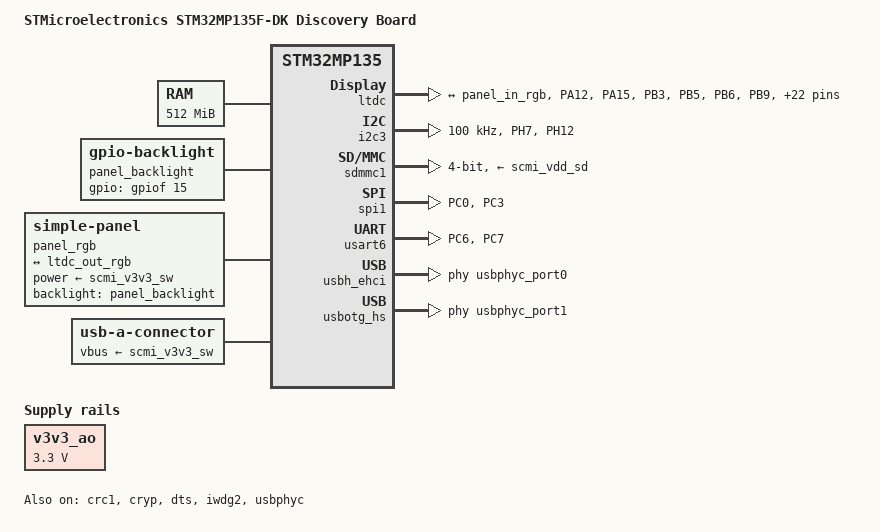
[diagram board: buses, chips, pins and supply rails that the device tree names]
// SPDX-License-Identifier: (GPL-2.0+ OR BSD-3-Clause)
/*
 * Copyright (C) STMicroelectronics 2021 - All Rights Reserved
 * Author: Alexandre Torgue <alexandre.torgue@foss.st.com> for STMicroelectronics.
 */

/dts-v1/;

#include <dt-bindings/gpio/gpio.h>
#include <dt-bindings/input/input.h>
#include <dt-bindings/leds/common.h>
#include <dt-bindings/rtc/rtc-stm32.h>
#include "stm32mp135.dtsi"
#include "stm32mp13xf.dtsi"
#include "stm32mp13-pinctrl.dtsi"

/ {
	model = "STMicroelectronics STM32MP135F-DK Discovery Board";
	compatible = "st,stm32mp135f-dk", "st,stm32mp135";

	aliases {
		ethernet0 = &eth1;
		ethernet1 = &eth2;
		serial0 = &usart6;
		serial1 = &usart1;
		serial2 = &uart8;
		serial3 = &usart2;
		
		i2c0 = &i2c3;
		spi1 = &spi1;
	};

	chosen {
		#address-cells = <1>;
		#size-cells = <1>;
		ranges;
		stdout-path = "serial0:115200n8";

		framebuffer {
			compatible = "simple-framebuffer";
			clocks = <&rcc LTDC_PX>;
			status = "okay";
		};
	};

	clocks {
	};

	memory@c0000000 {
		device_type = "memory";
		reg = <0xc0000000 0x20000000>;
	};
	reserved-memory {
		#address-cells = <1>;
		#size-cells = <1>;
		ranges;

		optee_framebuffer@dd000000 {
			reg = <0xdd000000 0x1000000>;
			no-map;
		};

		optee@de000000 {
			reg = <0xde000000 0x2000000>;
			no-map;
		};
	};

	v3v3_ao: v3v3_ao {
		compatible = "regulator-fixed";
		regulator-name = "v3v3_ao";
		regulator-min-microvolt = <3300000>;
		regulator-max-microvolt = <3300000>;
		regulator-always-on;
	};

	panel_backlight: panel-backlight {
		compatible = "gpio-backlight";
		gpios = <&gpiof 15 GPIO_ACTIVE_HIGH>;
		default-on;
		default-brightness-level = <0>;
		status = "okay";
	};

	panel_rgb: panel-rgb {
		compatible = "simple-panel", "panel-dpi";
		backlight = <&panel_backlight>;
		power-supply = <&scmi_v3v3_sw>;
		data-mapping = "rgb24";
		status = "okay";

		width-mm = <320>;
		height-mm = <180>;

		port {
			panel_in_rgb: endpoint {
				remote-endpoint = <&ltdc_out_rgb>;
			};
		};

		display-timings {
			timing@0 {
				clock-frequency = <74250000>;
				hactive = <1280>;
				vactive = <720>;
				hsync-len = <40>;
				hfront-porch = <110>;
				hback-porch = <220>;
				vsync-len = <5>;
				vfront-porch = <5>;
				vback-porch = <20>;

				hsync-active = <1>;
				vsync-active = <1>;

				de-active = <1>;
				pixelclk-active = <1>;
			};
		};
	};
};

&ltdc {
	pinctrl-names = "default", "sleep";
	pinctrl-0 = <&ltdc_pins_mx>;
	pinctrl-1 = <&ltdc_sleep_pins_mx>;
	status = "okay";

	port {
		#address-cells = <1>;
		#size-cells = <0>;

		ltdc_out_rgb: endpoint@0 {
			reg = <0>;
			remote-endpoint = <&panel_in_rgb>;
		};
	};
};

&crc1 {
	status = "okay";
};

&cryp {
	status = "okay";
};


&dma1 {
	sram = <&dma_pool>;
};

&dma2 {
	sram = <&dma_pool>;
};

&dts {
	status = "okay";
};

&eth1 {
	status = "disabled";
	pinctrl-0 = <&eth1_pins_mx>;
	pinctrl-1 = <&eth1_sleep_pins_mx>;
	pinctrl-names = "default", "sleep";
	phy-mode = "rgmii-id";
	max-speed = <100>;
	phy-handle = <&phy0_eth1>;
	nvmem-cells = <&ethernet_mac1_address>;
	nvmem-cell-names = "mac-address";

	mdio1 {
		#address-cells = <1>;
		#size-cells = <0>;
		compatible = "snps,dwmac-mdio";

		phy0_eth1: ethernet-phy@0 {
			compatible = "ethernet-phy-id001c.c916";
			reg = <0>;
			reset-assert-us = <10000>;
			reset-deassert-us = <30000>;
			reset-gpios = <&gpioa 10 GPIO_ACTIVE_LOW>;
		};
	};
};


&eth2 {
	status = "disabled";
	pinctrl-0 = <&eth2_pins_mx>;
	pinctrl-1 = <&eth2_sleep_pins_mx>;
	pinctrl-names = "default", "sleep";
	phy-mode = "rgmii-id";
	max-speed = <100>;
	phy-handle = <&phy0_eth2>;
	nvmem-cells = <&ethernet_mac2_address>;
	nvmem-cell-names = "mac-address";

	mdio1 {
		#address-cells = <1>;
		#size-cells = <0>;
		compatible = "snps,dwmac-mdio";
		phy0_eth2: ethernet-phy@0 {
			compatible = "ethernet-phy-id001c.c916";
			reg = <0>;
			reset-assert-us = <10000>;
			reset-deassert-us = <30000>;
			reset-gpios = <&gpioa 14 GPIO_ACTIVE_LOW>;
		};
	};
};

&i2c3 {
	pinctrl-names = "default", "sleep";
	pinctrl-0 = <&i2c3_pins_mx>;
	pinctrl-1 = <&i2c3_sleep_pins_mx>;
	// i2c-scl-rising-time-ns = <96>;
	// i2c-scl-falling-time-ns = <3>;
	clock-frequency = <100000>;
	status = "okay";
	// status = "disabled";
	/* spare dmas for other usage */
	/delete-property/dmas;
	/delete-property/dma-names;
};

&iwdg2 {
	timeout-sec = <32>;
	status = "okay";
};


&rtc {
	status = "disabled";
};

&scmi_regu {
	scmi_vddcpu: voltd-vddcpu {
		voltd-name = "vddcpu";
		regulator-name = "vddcpu";
	};
	scmi_vdd: voltd-vdd {
		voltd-name = "vdd";
		regulator-name = "vdd";
	};
	scmi_vddcore: voltd-vddcore {
		voltd-name = "vddcore";
		regulator-name = "vddcore";
	};
	scmi_vdd_adc: voltd-vdd_adc {
		voltd-name = "vdd_adc";
		regulator-name = "vdd_adc";
	};
	scmi_vdd_usb: voltd-vdd_usb {
		voltd-name = "vdd_usb";
		regulator-name = "vdd_usb";
	};
	scmi_vdd_sd: voltd-vdd_sd {
		voltd-name = "vdd_sd";
		regulator-name = "vdd_sd";
	};
	scmi_v1v8_periph: voltd-v1v8_periph {
		voltd-name = "v1v8_periph";
		regulator-name = "v1v8_periph";
	};
	scmi_v3v3_sw: voltd-v3v3_sw {
		voltd-name = "v3v3_sw";
		regulator-name = "v3v3_sw";
	};
};

&sdmmc1 {
	pinctrl-names = "default", "opendrain", "sleep";
	pinctrl-0 = <&sdmmc1_b4_pins_a &sdmmc1_clk_pins_a>;
	pinctrl-1 = <&sdmmc1_b4_od_pins_a &sdmmc1_clk_pins_a>;
	pinctrl-2 = <&sdmmc1_b4_sleep_pins_a>;
	disable-wp;
	st,neg-edge;
	bus-width = <4>;
	vmmc-supply = <&scmi_vdd_sd>;
	status = "okay";
};

// /* Wifi */
// &sdmmc2 {
// 	arm,primecell-periphid = <0x10153180>;
// 	pinctrl-names = "default", "opendrain", "sleep";
// 	pinctrl-0 = <&sdmmc2_b4_pins_a &sdmmc2_clk_pins_a>;
// 	pinctrl-1 = <&sdmmc2_b4_od_pins_a &sdmmc2_clk_pins_a>;
// 	pinctrl-2 = <&sdmmc2_b4_sleep_pins_a>;
// 	non-removable;
// 	st,neg-edge;
// 	bus-width = <4>;
// 	vmmc-supply = <&v3v3_ao>;
// 	mmc-pwrseq = <&wifi_pwrseq>;
// 	#address-cells = <1>;
// 	#size-cells = <0>;
// 	status = "disabled";
// 	// status = "okay";

// 	brcmf: bcrmf@1 {
// 		reg = <1>;
// 		compatible = "brcm,bcm4329-fmac";
// 	};
// };

&spi1 {
	pinctrl-names = "default", "sleep";
	pinctrl-0 = <&spi1_pins_mx>;
	pinctrl-1 = <&spi1_sleep_pins_mx>;
	num-cs = <1>;
	cs-gpios = <&gpioh 5 GPIO_ACTIVE_HIGH>;
	status = "okay";
};



&spi5 {
	pinctrl-names = "default", "sleep";
	pinctrl-0 = <&spi5_pins_a>;
	pinctrl-1 = <&spi5_sleep_pins_a>;
	status = "disabled";
};

&sram {
	dma_pool: dma-sram@0 {
		reg = <0x0 0x4000>;
		pool;
	};
};

&uart4 {
	pinctrl-names = "default", "sleep", "idle";
	pinctrl-0 = <&uart4_pins_a>;
	pinctrl-1 = <&uart4_sleep_pins_a>;
	pinctrl-2 = <&uart4_idle_pins_a>;
	/delete-property/dmas;
	/delete-property/dma-names;
	status = "disabled";
};

&usart6 {
	pinctrl-names = "default", "sleep", "idle";
	pinctrl-0 = <&usart6_pins_mx>;
	pinctrl-1 = <&usart6_sleep_pins_mx>;
	pinctrl-2 = <&usart6_idle_pins_mx>;
	/delete-property/dmas;
	/delete-property/dma-names;
	rx-tx-swap;
	status = "okay";

	u-boot,dm-pre-reloc;
};

&usbh_ehci {
	phys = <&usbphyc_port0>;
	status = "okay";
};

&usbotg_hs {
	phys = <&usbphyc_port1 0>;
	phy-names = "usb2-phy";
	u-boot,force-b-session-valid;
	hnp-srp-disable;
	status = "okay";
};

&usbphyc {
	status = "okay";
};

&usbphyc_port0 {
	phy-supply = <&scmi_vdd_usb>;
	st,current-boost-microamp = <1000>;
	st,decrease-hs-slew-rate;
	st,tune-hs-dc-level = <2>;
	st,enable-hs-rftime-reduction;
	st,trim-hs-current = <11>;
	st,trim-hs-impedance = <2>;
	st,tune-squelch-level = <1>;
	st,enable-hs-rx-gain-eq;
	st,no-hs-ftime-ctrl;
	st,no-lsfs-sc;

	/*
	 * Hack to keep hub active if wakeup source is enabled
	 * otherwise the hub will wakeup the port0 as soon as the v3v3_sw is disabled
	 */
	connector {
		compatible = "usb-a-connector";
		vbus-supply = <&scmi_v3v3_sw>;
	};
};

&usbphyc_port1 {
	phy-supply = <&scmi_vdd_usb>;
	st,current-boost-microamp = <1000>;
	st,decrease-hs-slew-rate;
	st,tune-hs-dc-level = <2>;
	st,enable-hs-rftime-reduction;
	st,trim-hs-current = <11>;
	st,trim-hs-impedance = <2>;
	st,tune-squelch-level = <1>;
	st,enable-hs-rx-gain-eq;
	st,no-hs-ftime-ctrl;
	st,no-lsfs-sc;
};


&pinctrl {
	eth1_pins_mx: eth1_mx-0 {
		pins1 {
			pinmux = <STM32_PINMUX('A', 2, AF11)>; /* ETH1_MDIO */
			bias-disable;
			drive-push-pull;
			slew-rate = <0>;
		};
		pins2 {
			pinmux = <STM32_PINMUX('A', 7, AF11)>, /* ETH1_RX_CTL */
					 <STM32_PINMUX('B', 0, AF11)>, /* ETH1_RXD2 */
					 <STM32_PINMUX('B', 1, AF11)>, /* ETH1_RXD3 */
					 <STM32_PINMUX('C', 4, AF11)>, /* ETH1_RXD0 */
					 <STM32_PINMUX('C', 5, AF11)>, /* ETH1_RXD1 */
					 <STM32_PINMUX('D', 7, AF10)>; /* ETH1_RX_CLK */
			bias-disable;
		};
		pins3 {
			pinmux = <STM32_PINMUX('B', 11, AF11)>, /* ETH1_TX_CTL */
					 <STM32_PINMUX('C', 1, AF11)>, /* ETH1_GTX_CLK */
					 <STM32_PINMUX('C', 2, AF11)>, /* ETH1_TXD2 */
					 <STM32_PINMUX('E', 5, AF10)>, /* ETH1_TXD3 */
					 <STM32_PINMUX('G', 2, AF11)>, /* ETH1_MDC */
					 <STM32_PINMUX('F', 12, AF11)>, /* ETH1_CLK125 */
					 <STM32_PINMUX('G', 13, AF11)>, /* ETH1_TXD0 */
					 <STM32_PINMUX('G', 14, AF11)>; /* ETH1_TXD1 */
			bias-disable;
			drive-push-pull;
			slew-rate = <2>;
		};
	};

	eth1_sleep_pins_mx: eth1_sleep_mx-0 {
		pins {
			pinmux = <STM32_PINMUX('A', 2, ANALOG)>, /* ETH1_MDIO */
					 <STM32_PINMUX('A', 7, ANALOG)>, /* ETH1_RX_CTL */
					 <STM32_PINMUX('B', 0, ANALOG)>, /* ETH1_RXD2 */
					 <STM32_PINMUX('B', 1, ANALOG)>, /* ETH1_RXD3 */
					 <STM32_PINMUX('B', 11, ANALOG)>, /* ETH1_TX_CTL */
					 <STM32_PINMUX('C', 1, ANALOG)>, /* ETH1_GTX_CLK */
					 <STM32_PINMUX('C', 2, ANALOG)>, /* ETH1_TXD2 */
					 <STM32_PINMUX('C', 4, ANALOG)>, /* ETH1_RXD0 */
					 <STM32_PINMUX('C', 5, ANALOG)>, /* ETH1_RXD1 */
					 <STM32_PINMUX('D', 7, ANALOG)>, /* ETH1_RX_CLK */
					 <STM32_PINMUX('E', 5, ANALOG)>, /* ETH1_TXD3 */
					 <STM32_PINMUX('G', 2, ANALOG)>, /* ETH1_MDC */
					 <STM32_PINMUX('F', 12, ANALOG)>, /* ETH1_CLK125 */
					 <STM32_PINMUX('G', 13, ANALOG)>, /* ETH1_TXD0 */
					 <STM32_PINMUX('G', 14, ANALOG)>; /* ETH1_TXD1 */
		};
	};

	eth2_pins_mx: eth2_mx-0 {
		pins1 {
			pinmux = <STM32_PINMUX('A', 8, AF11)>, /* ETH2_RXD3 */
					 <STM32_PINMUX('E', 2, AF10)>, /* ETH2_RXD1 */
					 <STM32_PINMUX('F', 4, AF11)>, /* ETH2_RXD0 */
					 <STM32_PINMUX('G', 12, AF12)>, /* ETH2_RX_CTL */
					 <STM32_PINMUX('H', 6, AF12)>, /* ETH2_RXD2 */
					 <STM32_PINMUX('H', 11, AF11)>; /* ETH2_RX_CLK */
			bias-disable;
		};
		pins2 {
			pinmux = <STM32_PINMUX('B', 2, AF11)>; /* ETH2_MDIO */
			bias-disable;
			drive-push-pull;
			slew-rate = <0>;
		};
		pins3 {
			pinmux = <STM32_PINMUX('E', 6, AF11)>, /* ETH2_TXD3 */
					 <STM32_PINMUX('F', 6, AF11)>, /* ETH2_TX_CTL */
					 <STM32_PINMUX('F', 7, AF11)>, /* ETH2_TXD0 */
					 <STM32_PINMUX('G', 1, AF10)>, /* ETH2_TXD2 */
					 <STM32_PINMUX('G', 3, AF10)>, /* ETH2_GTX_CLK */
					 <STM32_PINMUX('G', 5, AF10)>, /* ETH2_MDC */
					 <STM32_PINMUX('G', 11, AF10)>, /* ETH2_TXD1 */
					 <STM32_PINMUX('H', 2, AF13)>; /* ETH2_CLK125 */
			bias-disable;
			drive-push-pull;
			slew-rate = <2>;
		};
	};

	eth2_sleep_pins_mx: eth2_sleep_mx-0 {
		pins {
			pinmux = <STM32_PINMUX('A', 8, ANALOG)>, /* ETH2_RXD3 */
					 <STM32_PINMUX('B', 2, ANALOG)>, /* ETH2_MDIO */
					 <STM32_PINMUX('E', 2, ANALOG)>, /* ETH2_RXD1 */
					 <STM32_PINMUX('E', 6, ANALOG)>, /* ETH2_TXD3 */
					 <STM32_PINMUX('F', 4, ANALOG)>, /* ETH2_RXD0 */
					 <STM32_PINMUX('F', 6, ANALOG)>, /* ETH2_TX_CTL */
					 <STM32_PINMUX('F', 7, ANALOG)>, /* ETH2_TXD0 */
					 <STM32_PINMUX('G', 1, ANALOG)>, /* ETH2_TXD2 */
					 <STM32_PINMUX('G', 3, ANALOG)>, /* ETH2_GTX_CLK */
					 <STM32_PINMUX('G', 5, ANALOG)>, /* ETH2_MDC */
					 <STM32_PINMUX('H', 2, ANALOG)>, /* ETH2_CLK125 */
					 <STM32_PINMUX('G', 11, ANALOG)>, /* ETH2_TXD1 */
					 <STM32_PINMUX('G', 12, ANALOG)>, /* ETH2_RX_CTL */
					 <STM32_PINMUX('H', 6, ANALOG)>, /* ETH2_RXD2 */
					 <STM32_PINMUX('H', 11, ANALOG)>; /* ETH2_RX_CLK */
		};
	};
	
	usart6_pins_mx: usart6_mx-0 {
		u-boot,dm-pre-reloc;
		pins1 {
			u-boot,dm-pre-reloc;
			pinmux = <STM32_PINMUX('C', 6, AF7)>; /* USART6_TX */
			bias-pull-up;
		};
		pins2 {
			u-boot,dm-pre-reloc;
			pinmux = <STM32_PINMUX('C', 7, AF7)>; /* USART6_RX */
			bias-disable;
			drive-push-pull;
			slew-rate = <0>;
		};
	};

	usart6_sleep_pins_mx: usart6_sleep_mx-0 {
		pins {
			pinmux = <STM32_PINMUX('C', 6, ANALOG)>, /* USART6_TX */
					 <STM32_PINMUX('C', 7, ANALOG)>; /* USART6_RX */
		};
	};

	usart6_idle_pins_mx: usart6-idle_mx-0 {
		pins1 {
			pinmux = <STM32_PINMUX('C', 6, ANALOG)>; /* USART6_TX */
		};
		pins2 {
			pinmux = <STM32_PINMUX('C', 7, AF7)>; /* USART6_RX */
			bias-pull-up;
		};
	};


	i2c3_pins_mx: i2c3_mx-0 {
		pins {
			pinmux = <STM32_PINMUX('H', 7, AF5)>, /* I2C3_SDA */
					 <STM32_PINMUX('H', 12, AF4)>; /* I2C3_SCL */
			bias-disable;
			drive-open-drain;
			slew-rate = <0>;
		};
	};

	i2c3_sleep_pins_mx: i2c3_sleep_mx-0 {
		pins {
			pinmux = <STM32_PINMUX('H', 7, ANALOG)>, /* I2C3_SDA */
					 <STM32_PINMUX('H', 12, ANALOG)>; /* I2C3_SCL */
		};
	};

	ltdc_pins_mx: ltdc_mx-0 {
		pins1 {
			pinmux = <STM32_PINMUX('A', 12, AF14)>, /* LTDC_G6 */
					 <STM32_PINMUX('A', 15, AF11)>, /* LTDC_G7 */
					 <STM32_PINMUX('B', 3, AF14)>, /* LTDC_B2 */
					 <STM32_PINMUX('B', 5, AF13)>, /* LTDC_B6 */
					 <STM32_PINMUX('B', 6, AF14)>, /* LTDC_B7 */
					 <STM32_PINMUX('B', 9, AF14)>, /* LTDC_B1 */
					 <STM32_PINMUX('B', 12, AF13)>, /* LTDC_R3 */
					 <STM32_PINMUX('B', 14, AF13)>, /* LTDC_R0 */
					 <STM32_PINMUX('D', 1, AF14)>, /* LTDC_G2 */
					 <STM32_PINMUX('D', 4, AF11)>, /* LTDC_R1 */
					 <STM32_PINMUX('D', 5, AF13)>, /* LTDC_B0 */
					 <STM32_PINMUX('D', 9, AF11)>, /* LTDC_B5 */
					 <STM32_PINMUX('D', 10, AF9)>, /* LTDC_G5 */
					 <STM32_PINMUX('D', 13, AF14)>, /* LTDC_G4 */
					 <STM32_PINMUX('E', 1, AF11)>, /* LTDC_R4 */
					 <STM32_PINMUX('E', 7, AF14)>, /* LTDC_R5 */
					 <STM32_PINMUX('E', 12, AF9)>, /* LTDC_VSYNC */
					 <STM32_PINMUX('F', 0, AF13)>, /* LTDC_R6 */
					 <STM32_PINMUX('F', 1, AF14)>, /* LTDC_G1 */
					 <STM32_PINMUX('F', 5, AF9)>, /* LTDC_G0 */
					 <STM32_PINMUX('G', 6, AF14)>, /* LTDC_R7 */
					 <STM32_PINMUX('G', 7, AF14)>, /* LTDC_R2 */
					 <STM32_PINMUX('G', 15, AF14)>, /* LTDC_B3 */
					 <STM32_PINMUX('H', 9, AF11)>, /* LTDC_DE */
					 <STM32_PINMUX('H', 10, AF13)>, /* LTDC_HSYNC */
					 <STM32_PINMUX('H', 13, AF13)>, /* LTDC_G3 */
					 <STM32_PINMUX('H', 14, AF11)>; /* LTDC_B4 */
			bias-disable;
			drive-push-pull;
			slew-rate = <0>;
		};
		pins2 {
			pinmux = <STM32_PINMUX('B', 15, AF13)>; /* LTDC_CLK */
			bias-disable;
			drive-push-pull;
			slew-rate = <1>;
		};
	};

	ltdc_sleep_pins_mx: ltdc_sleep_mx-0 {
		pins {
			pinmux = <STM32_PINMUX('A', 12, ANALOG)>, /* LTDC_G6 */
					 <STM32_PINMUX('A', 15, ANALOG)>, /* LTDC_G7 */
					 <STM32_PINMUX('B', 3, ANALOG)>, /* LTDC_B2 */
					 <STM32_PINMUX('B', 5, ANALOG)>, /* LTDC_B6 */
					 <STM32_PINMUX('B', 6, ANALOG)>, /* LTDC_B7 */
					 <STM32_PINMUX('B', 9, ANALOG)>, /* LTDC_B1 */
					 <STM32_PINMUX('B', 12, ANALOG)>, /* LTDC_R3 */
					 <STM32_PINMUX('B', 14, ANALOG)>, /* LTDC_R0 */
					 <STM32_PINMUX('B', 15, ANALOG)>, /* LTDC_CLK */
					 <STM32_PINMUX('D', 1, ANALOG)>, /* LTDC_G2 */
					 <STM32_PINMUX('D', 4, ANALOG)>, /* LTDC_R1 */
					 <STM32_PINMUX('D', 5, ANALOG)>, /* LTDC_B0 */
					 <STM32_PINMUX('D', 9, ANALOG)>, /* LTDC_B5 */
					 <STM32_PINMUX('D', 10, ANALOG)>, /* LTDC_G5 */
					 <STM32_PINMUX('D', 13, ANALOG)>, /* LTDC_G4 */
					 <STM32_PINMUX('E', 1, ANALOG)>, /* LTDC_R4 */
					 <STM32_PINMUX('E', 7, ANALOG)>, /* LTDC_R5 */
					 <STM32_PINMUX('E', 12, ANALOG)>, /* LTDC_VSYNC */
					 <STM32_PINMUX('F', 0, ANALOG)>, /* LTDC_R6 */
					 <STM32_PINMUX('F', 1, ANALOG)>, /* LTDC_G1 */
					 <STM32_PINMUX('F', 5, ANALOG)>, /* LTDC_G0 */
					 <STM32_PINMUX('G', 6, ANALOG)>, /* LTDC_R7 */
					 <STM32_PINMUX('G', 7, ANALOG)>, /* LTDC_R2 */
					 <STM32_PINMUX('G', 15, ANALOG)>, /* LTDC_B3 */
					 <STM32_PINMUX('H', 9, ANALOG)>, /* LTDC_DE */
					 <STM32_PINMUX('H', 10, ANALOG)>, /* LTDC_HSYNC */
					 <STM32_PINMUX('H', 13, ANALOG)>, /* LTDC_G3 */
					 <STM32_PINMUX('H', 14, ANALOG)>; /* LTDC_B4 */
		};
	};
	spi1_pins_mx: spi1_mx-0 {
		pins {
			pinmux = <STM32_PINMUX('C', 0, AF6)>, /* SPI1_MOSI */
					 <STM32_PINMUX('C', 3, AF6)>; /* SPI1_SCK */
			bias-disable;
			drive-push-pull;
			slew-rate = <1>;
		};
	};

	spi1_sleep_pins_mx: spi1_sleep_mx-0 {
		pins {
			pinmux = <STM32_PINMUX('C', 0, ANALOG)>, /* SPI1_MOSI */
					 <STM32_PINMUX('C', 3, ANALOG)>; /* SPI1_SCK */
		};
	};
};
